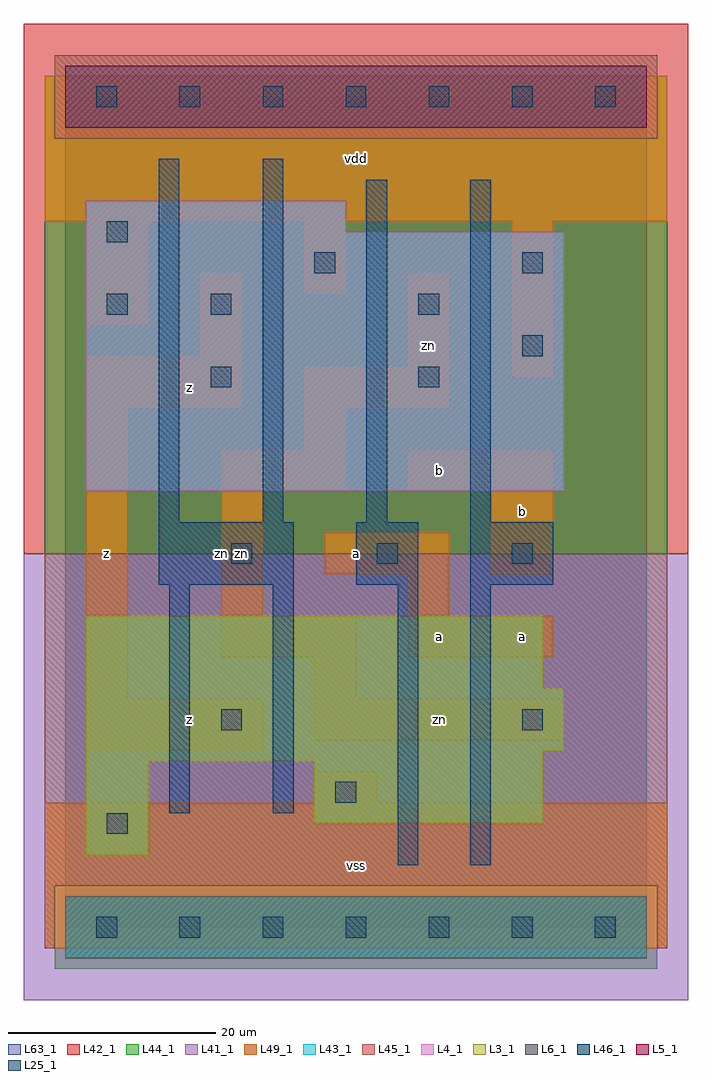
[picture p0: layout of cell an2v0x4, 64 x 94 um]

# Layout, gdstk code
import gdstk
lib = gdstk.Library(unit=1e-6, precision=1e-09)
def R(c, l, rs):  # rectangles x0, y0, x1, y1
    for r in rs: c.add(gdstk.rectangle(r[:2], r[2:], *l))
def A(c, l, x, y, w, h, nx, ny, dx, dy):  # array of equal rectangles
    R(c, l, [(x+i*dx, y+j*dy, x+i*dx+w, y+j*dy+h) for i in range(nx) for j in range(ny)])
L3_1 = (3, 1)
L4_1 = (4, 1)
L5_1 = (5, 1)
L6_1 = (6, 1)
L25_1 = (25, 1)
L41_1 = (41, 1)
L42_1 = (42, 1)
L43_1 = (43, 1)
L44_1 = (44, 1)
L45_1 = (45, 1)
L46_1 = (46, 1)
L49_1 = (49, 1)
L63_1 = (63, 1)

an2v0x4 = lib.new_cell('an2v0x4')
R(an2v0x4, L3_1, [(2,7,8,16), (24,10,46,16), (2,16,46,17), (2,17,48,23), (2,23,46,30)])
R(an2v0x4, L4_1, [(2,42,48,67), (2,67,27,70)])
R(an2v0x4, L5_1, [(0,77,56,83)])
R(an2v0x4, L6_1, [(0,-3,56,3), (0,-3,56,3)])
A(an2v0x4, L25_1, 3, -1, 2, 2, 7, 2, 8, 80)
R(an2v0x4, L25_1, [(4,9,6,11), (26,12,28,14), (15,19,17,21), (44,19,46,21), (16,35,18,37), (30,35,32,37), (43,35,45,37), (14,52,16,54), (34,52,36,54), (44,55,46,57), (4,59,6,61), (14,59,16,61), (34,59,36,61), (24,63,26,65), (44,63,46,65), (4,66,6,68)])
R(an2v0x4, L41_1, [(-4,-7,60,36)])
R(an2v0x4, L42_1, [(-4,36,60,87)])
R(an2v0x4, L43_1, [(0,-3,56,3), (2,7,8,16), (24,10,46,16), (2,16,46,17), (2,17,48,23), (2,23,46,30), (2,42,48,67), (2,67,27,70), (0,77,56,83)])
R(an2v0x4, L44_1, [(-1,-4,57,4), (-2,36,58,76), (-2,76,-1,82), (57,76,58,82)])
R(an2v0x4, L45_1, [(-2,-2,-1,4), (57,-2,58,4), (-2,4,58,36), (-1,76,57,84)])
R(an2v0x4, L46_1, [(32,6,34,33), (39,6,41,33), (10,11,12,33), (20,11,22,33), (9,33,22,39), (28,33,34,39), (39,33,47,39), (9,39,11,74), (19,39,21,74), (29,39,31,72), (39,39,41,72)])
R(an2v0x4, L49_1, [(-2,-2,58,12), (24,12,30,15), (2,17,19,22), (24,18,48,22), (2,22,6,50), (24,22,28,26), (15,26,28,30), (33,26,47,30), (15,30,19,42), (33,30,37,34), (25,34,37,38), (41,34,47,42), (15,42,27,46), (33,42,47,46), (23,46,27,50), (2,50,17,55), (23,50,37,54), (43,53,47,68), (33,54,37,63), (13,55,17,63), (2,58,8,68), (23,61,27,68), (-2,68,58,82)])
R(an2v0x4, L63_1, [(0,0,56,80)])
an2v0x4.add(gdstk.Label('zn', (15,36), layer=46, texttype=1))
an2v0x4.add(gdstk.Label('z', (4,36), layer=49, texttype=1))
an2v0x4.add(gdstk.Label('z', (12,20), layer=49, texttype=1))
an2v0x4.add(gdstk.Label('zn', (17,36), layer=49, texttype=1))
an2v0x4.add(gdstk.Label('z', (12,52), layer=49, texttype=1))
an2v0x4.add(gdstk.Label('vss', (28,6), layer=49, texttype=1))
an2v0x4.add(gdstk.Label('a', (28,36), layer=49, texttype=1))
an2v0x4.add(gdstk.Label('a', (36,28), layer=49, texttype=1))
an2v0x4.add(gdstk.Label('b', (36,44), layer=49, texttype=1))
an2v0x4.add(gdstk.Label('zn', (35,56), layer=49, texttype=1))
an2v0x4.add(gdstk.Label('vdd', (28,74), layer=49, texttype=1))
an2v0x4.add(gdstk.Label('zn', (36,20), layer=49, texttype=1))
an2v0x4.add(gdstk.Label('a', (44,28), layer=49, texttype=1))
an2v0x4.add(gdstk.Label('b', (44,40), layer=49, texttype=1))

lib.write_gds('an2v0x4.gds')
